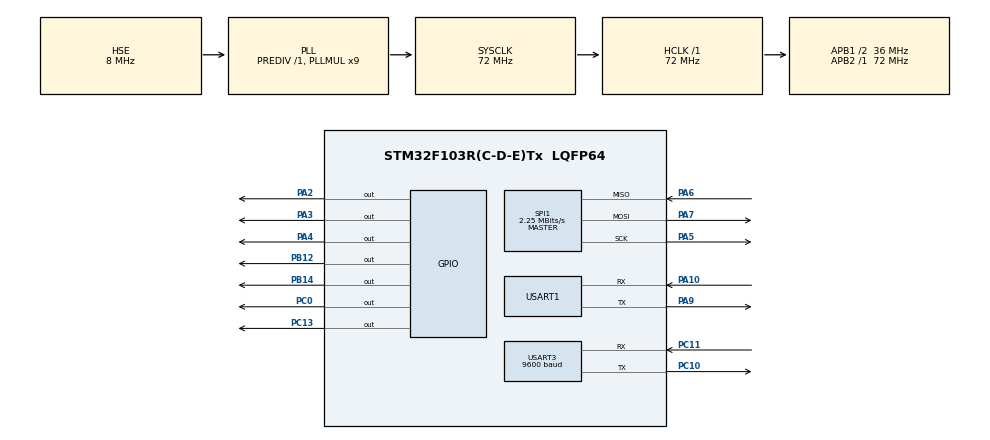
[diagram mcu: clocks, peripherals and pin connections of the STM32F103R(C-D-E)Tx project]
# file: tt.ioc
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Mcu.Family=STM32F1
Mcu.Name=STM32F103R(C-D-E)Tx
Mcu.Package=LQFP64
NVIC.PriorityGroup=NVIC_PRIORITYGROUP_4
NVIC.TIM6_IRQn=true\:0\:0\:false\:false\:true\:true\:true
NVIC.USART1_IRQn=true\:0\:0\:false\:false\:true\:true\:true
PA10.Mode=Asynchronous
PA10.Signal=USART1_RX
PA13.Mode=JTAG_5_pins
PA13.Signal=SYS_JTMS-SWDIO
PA14.Mode=JTAG_5_pins
PA14.Signal=SYS_JTCK-SWCLK
PA15.Mode=JTAG_5_pins
PA15.Signal=SYS_JTDI
PA2.GPIO_PuPd=GPIO_PULLDOWN
PA2.GPIO_Speed=GPIO_SPEED_FREQ_HIGH
PA2.PinState=GPIO_PIN_SET
PA2.Signal=GPIO_Output
PA3.GPIO_PuPd=GPIO_PULLDOWN
PA3.GPIO_Speed=GPIO_SPEED_FREQ_HIGH
PA3.PinState=GPIO_PIN_SET
PA3.Signal=GPIO_Output
PA4.GPIO_PuPd=GPIO_PULLDOWN
PA4.GPIO_Speed=GPIO_SPEED_FREQ_HIGH
PA4.PinState=GPIO_PIN_SET
PA4.Signal=GPIO_Output
PA5.Mode=Full_Duplex_Master
PA5.Signal=SPI1_SCK
PA6.Mode=Full_Duplex_Master
PA6.Signal=SPI1_MISO
PA7.Mode=Full_Duplex_Master
PA7.Signal=SPI1_MOSI
PA9.Mode=Asynchronous
PA9.Signal=USART1_TX
PB12.GPIO_PuPd=GPIO_PULLUP
PB12.GPIO_Speed=GPIO_SPEED_FREQ_HIGH
PB12.PinState=GPIO_PIN_SET
PB12.Signal=GPIO_Output
PB14.GPIO_PuPd=GPIO_PULLUP
PB14.GPIO_Speed=GPIO_SPEED_FREQ_HIGH
PB14.Signal=GPIO_Output
PB3.Mode=JTAG_5_pins
PB3.Signal=SYS_JTDO-TRACESWO
PB4.Mode=JTAG_5_pins
PB4.Signal=SYS_NJTRST
PC0.GPIO_PuPd=GPIO_PULLUP
PC0.GPIO_Speed=GPIO_SPEED_FREQ_HIGH
PC0.PinState=GPIO_PIN_RESET
PC0.Signal=GPIO_Output
PC10.Mode=Asynchronous
PC10.Signal=USART3_TX
PC11.Mode=Asynchronous
PC11.Signal=USART3_RX
PC13-TAMPER-RTC.GPIO_PuPd=GPIO_PULLUP
PC13-TAMPER-RTC.GPIO_Speed=GPIO_SPEED_FREQ_HIGH
PC13-TAMPER-RTC.PinState=GPIO_PIN_SET
PC13-TAMPER-RTC.Signal=GPIO_Output
PD0-OSC_IN.Mode=HSE-External-Oscillator
PD0-OSC_IN.Signal=RCC_OSC_IN
PD1-OSC_OUT.Mode=HSE-External-Oscillator
PD1-OSC_OUT.Signal=RCC_OSC_OUT
ProjectManager.HeapSize=0x200
ProjectManager.StackSize=0x400
ProjectManager.TargetToolchain=MDK-ARM V5.27
RCC.AHBFreq_Value=72000000
RCC.APB1CLKDivider=RCC_HCLK_DIV2
RCC.APB1Freq_Value=36000000
RCC.APB1TimFreq_Value=72000000
RCC.APB2Freq_Value=72000000
RCC.APB2TimFreq_Value=72000000
RCC.HCLKFreq_Value=72000000
RCC.PLLMUL=RCC_PLL_MUL9
RCC.PLLSourceVirtual=RCC_PLLSOURCE_HSE
RCC.SYSCLKFreq_VALUE=72000000
RCC.SYSCLKSource=RCC_SYSCLKSOURCE_PLLCLK
RCC.USBFreq_Value=72000000
SPI1.BaudRatePrescaler=SPI_BAUDRATEPRESCALER_32
SPI1.CalculateBaudRate=2.25 MBits/s
SPI1.Direction=SPI_DIRECTION_2LINES
SPI1.Mode=SPI_MODE_MASTER
SPI1.VirtualType=VM_MASTER
TIM6.AutoReloadPreload=TIM_AUTORELOAD_PRELOAD_ENABLE
TIM6.Period=49
TIM6.Prescaler=7199
TIM7.Period=1
TIM7.Prescaler=71
USART1.VirtualMode=VM_ASYNC
USART3.BaudRate=9600
USART3.VirtualMode=VM_ASYNC
VP_TIM6_VS_ClockSourceINT.Mode=Enable_Timer
VP_TIM7_VS_ClockSourceINT.Mode=Enable_Timer
board=custom

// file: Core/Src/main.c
/* USER CODE BEGIN Header */
/**
 ******************************************************************************
 * @file           : main.c
 * @brief          : Main program body
 ******************************************************************************
 * @attention
 *
 * <h2><center>&copy; Copyright (c) 2022 STMicroelectronics.
 * All rights reserved.</center></h2>
 *
 * This software component is licensed by ST under BSD 3-Clause license,
 * the "License"; You may not use this file except in compliance with the
 * License. You may obtain a copy of the License at:
 *                        opensource.org/licenses/BSD-3-Clause
 *
 ******************************************************************************
 */
/* USER CODE END Header */
#include "main.h"
#include "spi.h"
#include "tim.h"
#include "usart.h"
#include "gpio.h"

/* USER CODE BEGIN Includes */
#include "pwm3901.h"
#include <stdio.h>
#include "ANO_DT.h"
#include "tim.h"
#include "mpu6050.h"
#include "mpu9250.h"
#include "Kalman_Filter.h"
#include "ak8963.h"
#include "vl53lxx.h"
#include "Ellipse_Fitting.h"
#include "state_estimator.h"
#include "mag.h"
/* USER CODE END Includes */

/* USER CODE BEGIN PD */
#define ellipse_fitting 0
/* USER CODE END PD */

/* USER CODE BEGIN PV */
motionBurst_t currentMotion;
u8 buff[30];
// int sumx=0;
/* USER CODE END PV */

void SystemClock_Config(void);

/* USER CODE BEGIN 0 */

int fputc(int ch, FILE *fp)
{
  HAL_UART_Transmit(&huart1, (uint8_t *)&ch, 1, 0xffff);
  return ch;
}
int run_flag = 0;
/* USER CODE END 0 */

int main(void)
{

  /* MCU Configuration--------------------------------------------------------*/

  /* Reset of all peripherals, Initializes the Flash interface and the Systick. */
  HAL_Init();

  /* Configure the system clock */
  SystemClock_Config();

  /* Initialize all configured peripherals */
  MX_GPIO_Init();
  MX_SPI1_Init();
  MX_TIM6_Init();
  MX_USART1_UART_Init();
  MX_TIM7_Init();
  MX_USART3_UART_Init();
  /* USER CODE BEGIN 2 */
  int i = 0;
  HAL_GPIO_WritePin(GPIOA, GPIO_PIN_2, GPIO_PIN_SET);
  opticalFlowInit();
  Mpu9250Init();
  vl53lxxInit();
	MAG_Init();
	HAL_TIM_Base_Start_IT(&htim6);
  run_flag = 1;

  /* USER CODE END 2 */

  /* Infinite loop */
  /* USER CODE BEGIN WHILE */

  while (1)
  {
    if (i > 100 & i < 200)
    {
      run_flag = 0;
      calibration();
      run_flag = 1;
      i = 500;
    }
    else
      i++;
    // HAL_Delay(5);
    // Angle_Update();
    // getOpFlowData();
    /* USER CODE END WHILE */

  }
}

void SystemClock_Config(void)
{
  RCC_OscInitTypeDef RCC_OscInitStruct = {0};
  RCC_ClkInitTypeDef RCC_ClkInitStruct = {0};

  /** Initializes the RCC Oscillators according to the specified parameters
  * in the RCC_OscInitTypeDef structure.
  */
  RCC_OscInitStruct.OscillatorType = RCC_OSCILLATORTYPE_HSE;
  RCC_OscInitStruct.HSEState = RCC_HSE_ON;
  RCC_OscInitStruct.HSEPredivValue = RCC_HSE_PREDIV_DIV1;
  RCC_OscInitStruct.HSIState = RCC_HSI_ON;
  RCC_OscInitStruct.PLL.PLLState = RCC_PLL_ON;
  RCC_OscInitStruct.PLL.PLLSource = RCC_PLLSOURCE_HSE;
  RCC_OscInitStruct.PLL.PLLMUL = RCC_PLL_MUL9;
  if (HAL_RCC_OscConfig(&RCC_OscInitStruct) != HAL_OK)
  {
    Error_Handler();
  }
  /** Initializes the CPU, AHB and APB buses clocks
  */
  RCC_ClkInitStruct.ClockType = RCC_CLOCKTYPE_HCLK|RCC_CLOCKTYPE_SYSCLK
                              |RCC_CLOCKTYPE_PCLK1|RCC_CLOCKTYPE_PCLK2;
  RCC_ClkInitStruct.SYSCLKSource = RCC_SYSCLKSOURCE_PLLCLK;
  RCC_ClkInitStruct.AHBCLKDivider = RCC_SYSCLK_DIV1;
  RCC_ClkInitStruct.APB1CLKDivider = RCC_HCLK_DIV2;
  RCC_ClkInitStruct.APB2CLKDivider = RCC_HCLK_DIV1;

  if (HAL_RCC_ClockConfig(&RCC_ClkInitStruct, FLASH_LATENCY_2) != HAL_OK)
  {
    Error_Handler();
  }
}

/* USER CODE BEGIN 4 */
void HAL_TIM_PeriodElapsedCallback(TIM_HandleTypeDef *htim)
{
  //    static unsigned char ledState = 0;
  if (htim == (&htim6))
  {
    if (run_flag)
    {
      pos_estimator();
    }
  }
}
/* USER CODE END 4 */

void Error_Handler(void)
{
}

/************************ (C) COPYRIGHT STMicroelectronics *****END OF FILE****/
